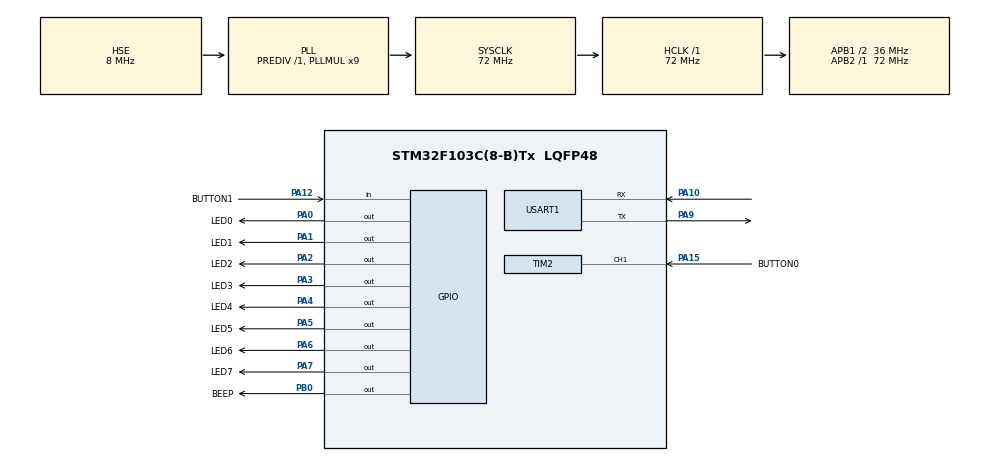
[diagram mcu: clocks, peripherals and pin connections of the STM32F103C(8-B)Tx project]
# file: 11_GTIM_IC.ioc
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Mcu.Family=STM32F1
Mcu.Name=STM32F103C(8-B)Tx
Mcu.Package=LQFP48
NVIC.PriorityGroup=NVIC_PRIORITYGROUP_4
NVIC.TIM2_IRQn=true\:3\:0\:true\:false\:true\:true\:true\:true
NVIC.USART1_IRQn=true\:3\:0\:true\:false\:true\:true\:true\:true
PA0-WKUP.GPIO_Label=LED0
PA0-WKUP.GPIO_ModeDefaultOutputPP=GPIO_MODE_OUTPUT_PP
PA0-WKUP.GPIO_PuPd=GPIO_PULLUP
PA0-WKUP.PinState=GPIO_PIN_SET
PA0-WKUP.Signal=GPIO_Output
PA1.GPIO_Label=LED1
PA1.GPIO_ModeDefaultOutputPP=GPIO_MODE_OUTPUT_PP
PA1.GPIO_PuPd=GPIO_PULLUP
PA1.GPIO_Speed=GPIO_SPEED_FREQ_LOW
PA1.PinState=GPIO_PIN_SET
PA1.Signal=GPIO_Output
PA10.Mode=Asynchronous
PA10.Signal=USART1_RX
PA12.GPIO_Label=BUTTON1
PA12.GPIO_PuPd=GPIO_PULLUP
PA12.Signal=GPIO_Input
PA13.Mode=Serial_Wire
PA13.Signal=SYS_JTMS-SWDIO
PA14.Mode=Serial_Wire
PA14.Signal=SYS_JTCK-SWCLK
PA15.GPIO_Label=BUTTON0
PA15.GPIO_PuPd=GPIO_PULLUP
PA15.Signal=S_TIM2_CH1_ETR
PA2.GPIO_Label=LED2
PA2.GPIO_ModeDefaultOutputPP=GPIO_MODE_OUTPUT_PP
PA2.GPIO_PuPd=GPIO_PULLUP
PA2.GPIO_Speed=GPIO_SPEED_FREQ_LOW
PA2.PinState=GPIO_PIN_SET
PA2.Signal=GPIO_Output
PA3.GPIO_Label=LED3
PA3.GPIO_ModeDefaultOutputPP=GPIO_MODE_OUTPUT_PP
PA3.GPIO_PuPd=GPIO_PULLUP
PA3.GPIO_Speed=GPIO_SPEED_FREQ_LOW
PA3.PinState=GPIO_PIN_SET
PA3.Signal=GPIO_Output
PA4.GPIO_Label=LED4
PA4.GPIO_ModeDefaultOutputPP=GPIO_MODE_OUTPUT_PP
PA4.GPIO_PuPd=GPIO_PULLUP
PA4.GPIO_Speed=GPIO_SPEED_FREQ_LOW
PA4.PinState=GPIO_PIN_SET
PA4.Signal=GPIO_Output
PA5.GPIO_Label=LED5
PA5.GPIO_ModeDefaultOutputPP=GPIO_MODE_OUTPUT_PP
PA5.GPIO_PuPd=GPIO_PULLUP
PA5.GPIO_Speed=GPIO_SPEED_FREQ_LOW
PA5.PinState=GPIO_PIN_SET
PA5.Signal=GPIO_Output
PA6.GPIO_Label=LED6
PA6.GPIO_ModeDefaultOutputPP=GPIO_MODE_OUTPUT_PP
PA6.GPIO_PuPd=GPIO_PULLUP
PA6.GPIO_Speed=GPIO_SPEED_FREQ_LOW
PA6.PinState=GPIO_PIN_SET
PA6.Signal=GPIO_Output
PA7.GPIO_Label=LED7
PA7.GPIO_ModeDefaultOutputPP=GPIO_MODE_OUTPUT_PP
PA7.GPIO_PuPd=GPIO_PULLUP
PA7.GPIO_Speed=GPIO_SPEED_FREQ_LOW
PA7.PinState=GPIO_PIN_SET
PA7.Signal=GPIO_Output
PA9.Mode=Asynchronous
PA9.Signal=USART1_TX
PB0.GPIO_Label=BEEP
PB0.GPIO_PuPd=GPIO_PULLDOWN
PB0.Signal=GPIO_Output
PC14-OSC32_IN.Mode=LSE-External-Oscillator
PC14-OSC32_IN.Signal=RCC_OSC32_IN
PC15-OSC32_OUT.Mode=LSE-External-Oscillator
PC15-OSC32_OUT.Signal=RCC_OSC32_OUT
PD0-OSC_IN.Mode=HSE-External-Oscillator
PD0-OSC_IN.Signal=RCC_OSC_IN
PD1-OSC_OUT.Mode=HSE-External-Oscillator
PD1-OSC_OUT.Signal=RCC_OSC_OUT
ProjectManager.HeapSize=0x200
ProjectManager.StackSize=0x400
ProjectManager.TargetToolchain=STM32CubeIDE
RCC.AHBFreq_Value=72000000
RCC.APB1CLKDivider=RCC_HCLK_DIV2
RCC.APB1Freq_Value=36000000
RCC.APB1TimFreq_Value=72000000
RCC.APB2Freq_Value=72000000
RCC.APB2TimFreq_Value=72000000
RCC.HCLKFreq_Value=72000000
RCC.PLLMUL=RCC_PLL_MUL9
RCC.PLLSourceVirtual=RCC_PLLSOURCE_HSE
RCC.SYSCLKFreq_VALUE=72000000
RCC.SYSCLKSource=RCC_SYSCLKSOURCE_PLLCLK
RCC.USBFreq_Value=72000000
SH.S_TIM2_CH1_ETR.0=TIM2_CH1,Input_Capture1_from_TI1
TIM2.Channel-Input_Capture1_from_TI1=TIM_CHANNEL_1
TIM2.ICPolarity_CH1=TIM_INPUTCHANNELPOLARITY_FALLING
TIM2.Prescaler=72 -  1
USART1.VirtualMode=VM_ASYNC
VP_TIM2_VS_ClockSourceINT.Mode=Internal
board=custom

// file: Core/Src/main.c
/* USER CODE BEGIN Header */
/**
  ******************************************************************************
  * @file           : main.c
  * @brief          : Main program body
  ******************************************************************************
  * @attention
  *
  * Copyright (c) 2025 STMicroelectronics.
  * All rights reserved.
  *
  * This software is licensed under terms that can be found in the LICENSE file
  * in the root directory of this software component.
  * If no LICENSE file comes with this software, it is provided AS-IS.
  *
  ******************************************************************************
  */
/* USER CODE END Header */
#include "main.h"
#include "tim.h"
#include "usart.h"
#include "gpio.h"

/* USER CODE BEGIN Includes */
#include "led.h"
#include "../../BSP/BEEP/beep.h"
#include "../../BSP/BUTTON/button.h"
#include "stdio.h"
/* USER CODE END Includes */

/* USER CODE BEGIN PD */
uint8_t button_down = 0;
/* USER CODE END PD */

/* USER CODE BEGIN PV */
uint8_t revbuf[6];
/* USER CODE END PV */

void SystemClock_Config(void);
/* USER CODE BEGIN PFP */
uint8_t falling_flag = 0;
uint8_t rising_flag = 0;
uint8_t overflow_val = 0;
uint16_t cnt_val = 0;
/* USER CODE END PFP */

/* USER CODE BEGIN 0 */
void HAL_TIM_IC_CaptureCallback(TIM_HandleTypeDef *htim){
	if(htim->Instance == TIM2){
		if(rising_flag == 0){
			if(falling_flag == 1){
				//rising edge captured.
				rising_flag = 1;
				cnt_val = HAL_TIM_ReadCapturedValue(htim, TIM_CHANNEL_1);
				__HAL_TIM_SET_CAPTUREPOLARITY(htim, TIM_CHANNEL_1, TIM_INPUTCHANNELPOLARITY_FALLING);

			}else{
				//reset variables:
				falling_flag = 0;
				rising_flag = 0;
				overflow_val = 0;
				cnt_val = 0;
				//reset completed.

				//falling edge captured.
				falling_flag = 1;
				__HAL_TIM_DISABLE(htim);
				__HAL_TIM_SET_COUNTER(htim, 0);
				__HAL_TIM_SET_CAPTUREPOLARITY(htim, TIM_CHANNEL_1, TIM_INPUTCHANNELPOLARITY_RISING);
				__HAL_TIM_ENABLE(htim);
			}

		}
	}
}
void HAL_TIM_PeriodElapsedCallback(TIM_HandleTypeDef *htim){
	if(htim->Instance == TIM2){
		if(rising_flag == 0){
			if(falling_flag == 1)
			{
				if((overflow_val & 0XFF) == 0XFF) //overflow_val overflowed.
				{
					rising_flag = 1;
					__HAL_TIM_SET_CAPTUREPOLARITY(htim, TIM_CHANNEL_1, TIM_INPUTCHANNELPOLARITY_FALLING);
					cnt_val = 0XFFFF;
				}else{
					overflow_val++;
				}

			}
		}
	}
}
/* USER CODE END 0 */

int main(void)
{

  /* USER CODE BEGIN 1 */
	uint32_t tmp = 0;

  /* USER CODE END 1 */

  /* MCU Configuration--------------------------------------------------------*/

  /* Reset of all peripherals, Initializes the Flash interface and the Systick. */
  HAL_Init();

  /* Configure the system clock */
  SystemClock_Config();

  /* Initialize all configured peripherals */
  MX_GPIO_Init();
  MX_USART1_UART_Init();
  MX_TIM2_Init();
  /* USER CODE BEGIN 2 */
  HAL_TIM_Base_Start_IT(&htim2);
  HAL_TIM_IC_Start_IT(&htim2, TIM_CHANNEL_1);
  /* USER CODE END 2 */

  /* Infinite loop */
  while (1)
  {

    /* USER CODE BEGIN 3 */
	  if(rising_flag == 1){
		  tmp = overflow_val * 65536 + cnt_val;
		  printf("button_down time:%ld(us)\r\n", tmp);
		  rising_flag = 0;
		  falling_flag = 0;
	  }
  }
  /* USER CODE END 3 */
}

void SystemClock_Config(void)
{
  RCC_OscInitTypeDef RCC_OscInitStruct = {0};
  RCC_ClkInitTypeDef RCC_ClkInitStruct = {0};

  /** Initializes the RCC Oscillators according to the specified parameters
  * in the RCC_OscInitTypeDef structure.
  */
  RCC_OscInitStruct.OscillatorType = RCC_OSCILLATORTYPE_HSE;
  RCC_OscInitStruct.HSEState = RCC_HSE_ON;
  RCC_OscInitStruct.HSEPredivValue = RCC_HSE_PREDIV_DIV1;
  RCC_OscInitStruct.HSIState = RCC_HSI_ON;
  RCC_OscInitStruct.PLL.PLLState = RCC_PLL_ON;
  RCC_OscInitStruct.PLL.PLLSource = RCC_PLLSOURCE_HSE;
  RCC_OscInitStruct.PLL.PLLMUL = RCC_PLL_MUL9;
  if (HAL_RCC_OscConfig(&RCC_OscInitStruct) != HAL_OK)
  {
    Error_Handler();
  }

  /** Initializes the CPU, AHB and APB buses clocks
  */
  RCC_ClkInitStruct.ClockType = RCC_CLOCKTYPE_HCLK|RCC_CLOCKTYPE_SYSCLK
                              |RCC_CLOCKTYPE_PCLK1|RCC_CLOCKTYPE_PCLK2;
  RCC_ClkInitStruct.SYSCLKSource = RCC_SYSCLKSOURCE_PLLCLK;
  RCC_ClkInitStruct.AHBCLKDivider = RCC_SYSCLK_DIV1;
  RCC_ClkInitStruct.APB1CLKDivider = RCC_HCLK_DIV2;
  RCC_ClkInitStruct.APB2CLKDivider = RCC_HCLK_DIV1;

  if (HAL_RCC_ClockConfig(&RCC_ClkInitStruct, FLASH_LATENCY_2) != HAL_OK)
  {
    Error_Handler();
  }
}

void Error_Handler(void)
{
  __disable_irq();
  while (1)
  {
  }
}
